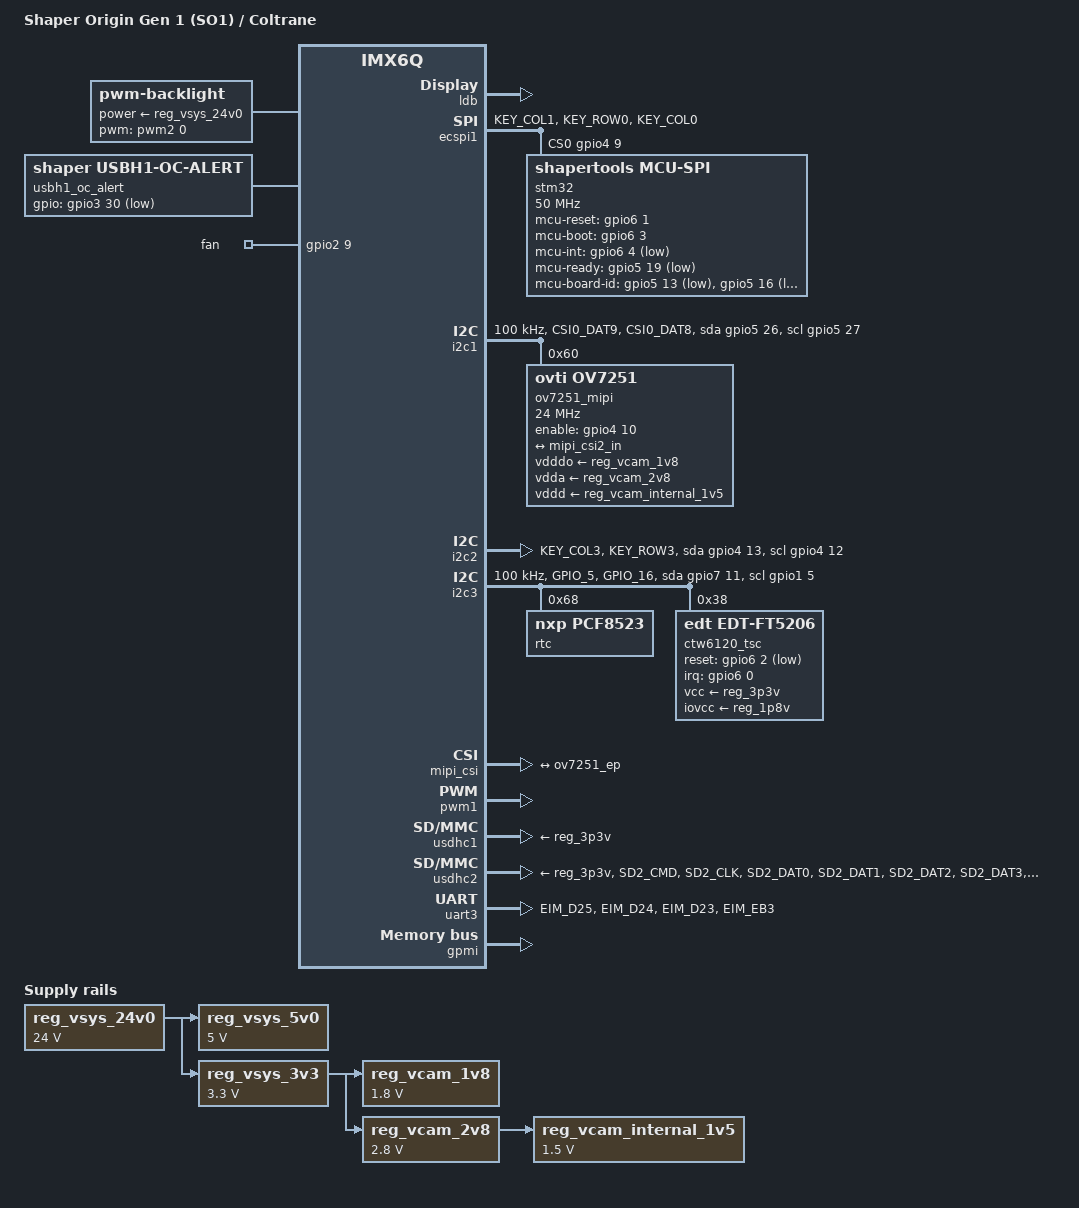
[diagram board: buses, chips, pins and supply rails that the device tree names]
// SPDX-License-Identifier: GPL-2.0+

/*
 * Copyright 2024 Shaper Tools, Inc.
 * - Jeremy Blum <jeremy@shapertools.com>
 * - Donald Carr <donald@shapertools.com>
 * Copyright 2022 Bootlin
 * Copyright 2016 Variscite, Ltd. All Rights Reserved
 */

#include "imx6qdl-var-som.dtsi"

/ {
	model = "Shaper Origin Gen 1 (SO1) / Coltrane";
	compatible = "variscite,var-som-imx6q", "fsl,imx6q";

	/* 24V Power from AC/DC on Coltrane Power Board */
	reg_vsys_24v0: regulator-vsys-24v0 {
		regulator-name = "VSYS_24V0";
		compatible = "regulator-fixed";
		regulator-max-microvolt = <24000000>;
		regulator-min-microvolt = <24000000>;
		regulator-boot-on;
		regulator-always-on;
	};

	/* 5V Power from SMPS on Coltrane Power Board */
	reg_vsys_5v0: regulator-vsys-5v0 {
		regulator-name = "VSYS_5V0";
		compatible = "regulator-fixed";
		regulator-max-microvolt = <5000000>;
		regulator-min-microvolt = <5000000>;
		regulator-boot-on;
		regulator-always-on;
        	vin-supply = <&reg_vsys_24v0>;
	};

	/* 3.3V Power from SMPS on Coltrane Power Board */
	reg_vsys_3v3: regulator-vsys-3v3 {
		regulator-name = "VSYS_3V3";
		compatible = "regulator-fixed";
		regulator-max-microvolt = <3300000>;
		regulator-min-microvolt = <3300000>;
		regulator-boot-on;
		regulator-always-on;
        	vin-supply = <&reg_vsys_24v0>;
	};

	/* 1.8V Camera DOVDD Power Supply generated by dedicated LDO from 3.3V VSYS on Vision Board */
	reg_vcam_1v8: regulator-vcam-1v8 {
		regulator-name = "VCAM_1V8";
		compatible = "regulator-fixed";
		regulator-max-microvolt = <1800000>;
		regulator-min-microvolt = <1800000>;
		regulator-boot-on;
		regulator-always-on;
        	vin-supply = <&reg_vsys_3v3>;
	};

	/* 2.8V Camera AVDD Power Supply generated by dedicated LDO from 3.3V VSYS on Vision Board */
	reg_vcam_2v8: regulator-vcam-2v8 {
		regulator-name = "VCAM_2V8";
		compatible = "regulator-fixed";
		regulator-max-microvolt = <2800000>;
		regulator-min-microvolt = <2800000>;
		regulator-boot-on;
		regulator-always-on;
        	vin-supply = <&reg_vsys_3v3>;
	};

    	/* 1.5V Camera DVDD Internally Generated Core Power */
	reg_vcam_internal_1v5: regulator-vcam-internal-1v5 {
		regulator-name = "VCAM_INTERNAL_1V5";
		compatible = "regulator-fixed";
		regulator-max-microvolt = <1500000>;
		regulator-min-microvolt = <1500000>;
		regulator-boot-on;
		regulator-always-on;
        	vin-supply = <&reg_vcam_2v8>;
	};

	/* The Backlight supply is sourced from the System 24V rail from power board */
	backlight {
		compatible = "pwm-backlight";
		pwms = <&pwm2 0 50000 0>;
		brightness-levels = <0 4 8 16 32 64 128 248>;
		default-brightness-level = <0>;
		status = "okay";
		power-supply = <&reg_vsys_24v0>;
	};

        reserved-memory {
                #address-cells = <1>;
                #size-cells = <1>;
                ranges;

                ramoops@7fff0000 {
                    compatible = "ramoops";
                    no-map;
                    console-size = <0x8000>;    /* 32kB */
                    record-size = <0x400>;      /*  1kB */
                    reg = <0x7fff0000 0x10000>; /* 64kB */
                };

                /* global autoconfigured region for contiguous allocations */
                linux,cma {
                        compatible = "shared-dma-pool";
                        reusable;
                        size = <0x10000000>;
                        //size = <0x14000000>;
                        linux,cma-default;
                };
        };

	/* This is the seperate Kernel interrupt that we use to log overcurrent events on USB Host */
	/* See Comments below */
	usbh1_oc_alert {
		compatible = "shaper,usbh1-oc-alert";
		pinctrl-names = "default";
		pinctrl-0 = <&pinctrl_usbh1_oc_alert_var>;
		gpios = <&gpio3 30 GPIO_ACTIVE_LOW>;
		status = "okay";
	};
};

/* Overrides to i.MX6Q Operating Points, as utilized by Variscite */
&cpu0 {
	operating-points = <
		/* kHz    uV */
		1200000	1350000
		996000	1250000
		852000	1250000
		792000	1175000
		396000	1175000
	>;

	fsl,soc-operating-points = <
		/* ARM kHz  SOC-PU uV */
		1200000	1275000
		996000	1250000
		852000	1250000
		792000	1250000
		396000	1250000
	>;
};
&cpu1 {
	operating-points = <
		/* kHz    uV */
		1200000	1350000
		996000	1250000
		852000	1250000
		792000	1175000
		396000	1175000
	>;

	fsl,soc-operating-points = <
		/* ARM kHz  SOC-PU uV */
		1200000	1275000
		996000	1250000
		852000	1250000
		792000	1250000
		396000	1250000
	>;
};
&cpu2 {
	operating-points = <
		/* kHz    uV */
		1200000	1350000
		996000	1250000
		852000	1250000
		792000	1175000
		396000	1175000
	>;

	fsl,soc-operating-points = <
		/* ARM kHz  SOC-PU uV */
		1200000	1275000
		996000	1250000
		852000	1250000
		792000	1250000
		396000	1250000
	>;
};
&cpu3 {
	operating-points = <
		/* kHz    uV */
		1200000	1350000
		996000	1250000
		852000	1250000
		792000	1175000
		396000	1175000
	>;

	fsl,soc-operating-points = <
		/* ARM kHz  SOC-PU uV */
		1200000	1275000
		996000	1250000
		852000	1250000
		792000	1250000
		396000	1250000
	>;
};

/*
 * We disable native USB driver overcurrent detection via OC mode or GPIO mode.
 * We instead monitor the relevant OC pin as a normal interrupt because we want the
 * USB power chip to handle it directly without interference from the SoC.
 * If we don't disable it, then the boot logs complain about the polarity being unset
 * If we DO enable it, then an OC event causes the SoC to disable the USB PHY without ever re-enabling it.
 * See Comment on pinctrl_usbh1_var.
*/
&usbh1 {
	disable-over-current;
	/* pinctrl-names = "default"; */
	/* pinctrl-0 = <&pinctrl_usbh1_var>; */
	/* over-current-active-low; */

	/* Only if we configure for GPIO mode in pinctrl_usbh1_var */
	/* over-current-gpios = <&gpio3 30 GPIO_ACTIVE_LOW>; */
};

/* The following regulator sources should really be in the imx6qdl-var-som.dtsi file because they are a function of the PMIC. */
/* But, we want to use the upstream file from Variscite for the SOM DTSI, so we define them here. */
/* See Figure 10-5. i.MX 6Dual/6Quad Power Tree in i.MX6 Reference Manual */
&reg_usb_h1_vbus {
	/* USB Host 1 Supply is provided by 5V VSYS via OC Switch */
	vin-supply = <&reg_vsys_5v0>;
	regulator-boot-on;
};
&reg_3p3v {
	/* The 3.3V supply on the SOM is fed in from the 3.3V VSYS. */
	vin-supply = <&reg_vsys_3v3>;
	regulator-boot-on;
};
&reg_1p8v {
	/* The 1.8V supply on the SOM is derived from the 3.3V VSYS via PMIC */
	/* Per SW-8715 notes we've determined that the system 1.8V rail is PMIC VGEN4. */
	/* To-Do: assign downstream consumers to VGEN4 instead of this dummy. */
	vin-supply = <&reg_3p3v>;
	regulator-boot-on;
};

/* Presume that all PMIC rails are effectively generated from the 3.3V Supply fed to the SOM */
&sw1a_reg {
	vin-supply = <&reg_3p3v>;
};
&sw1c_reg {
	vin-supply = <&reg_3p3v>;
};
&sw2_reg {
	vin-supply = <&reg_3p3v>;
};
&sw3a_reg {
	vin-supply = <&reg_3p3v>;
};
&sw3b_reg {
	vin-supply = <&reg_3p3v>;
};
&sw4_reg {
	vin-supply = <&reg_3p3v>;
};
&snvs_reg {
	vin-supply = <&reg_3p3v>;
};
&vref_reg {
	vin-supply = <&reg_3p3v>;
};
&vgen1_reg {
	vin-supply = <&reg_3p3v>;
};
&vgen2_reg {
	vin-supply = <&reg_3p3v>;
};
&vgen3_reg {
	vin-supply = <&reg_3p3v>;
};
&vgen4_reg {
	/* Confirmed vai probing (SW-8715) that this is the actual 1.8V rail used on the SOM */
	vin-supply = <&reg_3p3v>;
};
&vgen5_reg {
	vin-supply = <&reg_3p3v>;
};
&vgen6_reg {
	vin-supply = <&reg_3p3v>;
};

/* anatop requires the following regulators to exist */
/* These regulators are inside the SoC */
&reg_arm {
	regulator-boot-on;
	regulator-always-on;
	regulator-allow-bypass;
};

&reg_soc {
	regulator-boot-on;
	regulator-always-on;
	regulator-allow-bypass;
};

&reg_pu {
	regulator-boot-on;
	regulator-always-on;
	regulator-allow-bypass;
};

&reg_vdd1p1 {
	regulator-boot-on;
	regulator-always-on;
};

&reg_vdd2p5 {
	regulator-boot-on;
	regulator-always-on;
};

&reg_vdd3p0 {
	/* Actual Supply is not certain - setting to SOM input supply */
	vin-supply = <&reg_3p3v>;
	regulator-boot-on;
	regulator-always-on;
};
/* end anatop regulators */

&ldb {
	status = "okay";

	lvds-channel@0 {
		fsl,data-mapping = "spwg";
		fsl,data-width = <24>;
		status = "okay";
		primary;

		display-timings {
			native-mode = <&timing0c>;
			timing0c: hsd100pxn1 {
				clock-frequency = <31000000>;
				hactive = <800>;
				vactive = <480>;
				hback-porch = <88>;
				hfront-porch = <40>;
				hsync-len = <48>;
				vback-porch = <32>;
				vfront-porch = <13>;
				vsync-len = <3>;
			};
		};
	};
};

&ecspi1 {
    fsl,spi-num-chipselects = <1>;
    pinctrl-names = "default";
    pinctrl-0 = <&pinctrl_ecspi1_2>;
    cs-gpios = <&gpio4 9 GPIO_ACTIVE_HIGH>;
    status = "okay";

    stm32: mcu-spi@0 {
        compatible = "shapertools,mcu-spi";
        spi-max-frequency = <50000000>;
        mcu-reset-gpios = <&gpio6 1 GPIO_OPEN_DRAIN>;
        mcu-boot-gpios = <&gpio6 3 GPIO_OPEN_DRAIN>;
        mcu-int-gpios = <&gpio6 4 GPIO_ACTIVE_LOW>;
        mcu-ready-gpios = <&gpio5 19 GPIO_ACTIVE_LOW>;
        mcu-board-id-gpios = <&gpio5 13 GPIO_ACTIVE_LOW>,<&gpio5 16 GPIO_ACTIVE_LOW>,<&gpio5 15 GPIO_ACTIVE_LOW>;
        reg = <0>;
    };
};

&i2c1 {
    clock-frequency = <100000>;
    status = "okay";

    pinctrl-names = "default", "gpio";
    pinctrl-0 = <&pinctrl_i2c1>;
    pinctrl-1 = <&pinctrl_i2c1_recovery>;
    scl-gpios = <&gpio5 27 (GPIO_ACTIVE_HIGH | GPIO_OPEN_DRAIN)>;
    sda-gpios = <&gpio5 26 (GPIO_ACTIVE_HIGH | GPIO_OPEN_DRAIN)>;

    ov7251_mipi: camera@60 {
		compatible = "ovti,ov7251";
		reg = <0x60>;
		clocks = <&clks IMX6QDL_CLK_CKO2>;
		clock-names = "xclk";
		clock-frequency = <24000000>;
		vdddo-supply = <&reg_vcam_1v8>; /* I/O Voltage Supply (1.8V) */
		vdda-supply = <&reg_vcam_2v8>; /* Analog Voltage Supply (2.8V) */
		vddd-supply = <&reg_vcam_internal_1v5>; /* Core Voltage Supply (Internal 1.5V) */
		enable-gpios = <&gpio4 10 GPIO_ACTIVE_HIGH>;
	
		port {
			ov7251_ep: endpoint {
				remote-endpoint = <&mipi_csi2_in>;
				clock-lanes = <1>;
				data-lanes = <0>;
				link-frequencies = /bits/ 64 <240000000 319200000>;
			};
		};
	};
};

&i2c2 {
    pinctrl-names = "default", "gpio";
    scl-gpios = <&gpio4 12 (GPIO_ACTIVE_HIGH | GPIO_OPEN_DRAIN)>;
    sda-gpios = <&gpio4 13 (GPIO_ACTIVE_HIGH | GPIO_OPEN_DRAIN)>;
    pinctrl-0 = <&pinctrl_i2c2>;
    pinctrl-1 = <&pinctrl_i2c2_recovery>;
};

&i2c3 {
    clock-frequency = <100000>;
    status = "okay";

    pinctrl-names = "default", "gpio";
    pinctrl-0 = <&pinctrl_i2c3>;
    pinctrl-1 = <&pinctrl_i2c3_recovery>;
    scl-gpios = <&gpio1 5 (GPIO_ACTIVE_HIGH | GPIO_OPEN_DRAIN)>;
    sda-gpios = <&gpio7 11 (GPIO_ACTIVE_HIGH | GPIO_OPEN_DRAIN)>;

    /* PCF8523 RTC module */
    rtc@68 {
        compatible = "nxp,pcf8523";
        reg = <0x68>;
    };

    /* Touch */
    ctw6120_tsc@38 {
        compatible = "edt,edt-ft5206";
        reg = <0x38>;
        interrupt-parent = <&gpio6>;
        interrupts = <0 0>;
        reset-gpios = <&gpio6 2 GPIO_ACTIVE_LOW>;
        touchscreen-x-mm = <108>;
        touchscreen-y-mm = <65>;
        touchscreen-size-y = <480>;
        touchscreen-size-x = <800>;
	vcc-supply = <&reg_3p3v>;
	iovcc-supply = <&reg_1p8v>;
    };
};

&mipi_csi {
        status = "okay";

        port@0 {
                reg = <0>;

                mipi_csi2_in: endpoint {
                        remote-endpoint = <&ov7251_ep>;
                        clock-lanes = <1>;
                        data-lanes = <0>;
                };
        };
};

&iomuxc {
	pinctrl-names = "default";
	pinctrl-0 = <&pinctrl_hog>;

	pinctrl_ecspi1_1: ecspi1grp-1 {
		fsl,pins = <
		MX6QDL_PAD_EIM_D17__ECSPI1_MISO 0x100b1
		MX6QDL_PAD_EIM_D18__ECSPI1_MOSI 0x100b1
		MX6QDL_PAD_EIM_D16__ECSPI1_SCLK 0x100b1
		>;
	};

	pinctrl_ecspi1_2: ecspi1grp-2 {
		fsl,pins = <
		MX6QDL_PAD_KEY_COL1__ECSPI1_MISO 0x100b1
		MX6QDL_PAD_KEY_ROW0__ECSPI1_MOSI 0x100b1
		MX6QDL_PAD_KEY_COL0__ECSPI1_SCLK 0x100b1
		>;
	};

	/* Camera Control */
	pinctrl_ov7251: ov7251grp {
		fsl,pins = <
		/* CAMERA.CLK */
		MX6QDL_PAD_GPIO_3__CCM_CLKO2        0x130b0
		/* CAMERA.EN */
		MX6QDL_PAD_KEY_COL2__GPIO4_IO10     0x130b0
		/* CAMERA.LED_PWM */
		MX6QDL_PAD_GPIO_9__PWM1_OUT         0x130b1
		>;
	};

	/* MCU RX on UART3 for Debug Logs*/
	pinctrl_uart3: uart3grp {	/* RX/TX RTS/CTS */
		fsl,pins = <
			MX6QDL_PAD_EIM_D25__UART3_RX_DATA	0x1b0b1
			MX6QDL_PAD_EIM_D24__UART3_TX_DATA	0x1b0b1
			MX6QDL_PAD_EIM_D23__UART3_CTS_B		0x1b0b1
			MX6QDL_PAD_EIM_EB3__UART3_RTS_B		0x1b0b1
		>;
	};

	/* Driver DOES support native USB_H1_OC mode, which raises an observable interrupt in the kernel.
	 * However, when it recevies this interupt, it also disables the USB PHY and doesn't re-enable it.
	 * We don't want that behavior, since the Diodes AP2151D USB Power switch chip is already autonomously
	 * pulling power to the USB port when it detects an overcurrent condition. We want that chip to just automatically
	 * re-assert power when the overcurrent condition is removed. Still, it is useful to KNOW that this happened,
	 * so, we configure the pin in the GPIO Mux mode instead of the native OC mode and raise a flag up to the kernel for our logs.
	 * We don't bother configuring the Power enable line (GPIO2_11), since we don't want the SoC to control it anyways.
	 * MX6QDL_PAD_EIM_D30__USB_H1_OC	0x1b0b1 // Native Mode
	 * MX6QDL_PAD_EIM_D30__GPIO3_IO30 	0x1b0b1 // GPIO Mode
	 * 0x1b0b1 = HYS | 100K_UP | PUE | PKE | SPEED_MED | DSE_40ohm | FAST_SLEW
	 */
	/* pinctrl_usbh1_var: usbh1grp {
	 * 	fsl,pins = <
	 *		MX6QDL_PAD_EIM_D30__USB_H1_OC	0x1b0b1
	 *	>;
	 * };
	 */

	pinctrl_usbh1_oc_alert_var: usbh1ocalertgrp {
		fsl,pins = <
			/* GPIO3_IO30 as input, HYS | PUE | PKE | 100k_UP | MED speed | 40ohm */
			MX6QDL_PAD_EIM_D30__GPIO3_IO30 		0x1b0b0
		>;
	};

	pinctrl_usbotg_var: usbotggrp {
		fsl,pins = <
			MX6QDL_PAD_GPIO_4__GPIO1_IO04		0x17059
		>;
	};

	pinctrl_usdhc1: usdhc1grp {
		fsl,pins = <
			MX6QDL_PAD_SD1_CMD__SD1_CMD		0x17071
			MX6QDL_PAD_SD1_CLK__SD1_CLK		0x10071
			MX6QDL_PAD_SD1_DAT0__SD1_DATA0		0x17071
			MX6QDL_PAD_SD1_DAT1__SD1_DATA1		0x17071
			MX6QDL_PAD_SD1_DAT2__SD1_DATA2		0x17071
			MX6QDL_PAD_SD1_DAT3__SD1_DATA3		0x17071
		>;
	};

	pinctrl_usdhc2: usdhc2grp {
		fsl,pins = <
			MX6QDL_PAD_SD2_CMD__SD2_CMD		0x17059
			MX6QDL_PAD_SD2_CLK__SD2_CLK		0x10059
			MX6QDL_PAD_SD2_DAT0__SD2_DATA0		0x17059
			MX6QDL_PAD_SD2_DAT1__SD2_DATA1		0x17059
			MX6QDL_PAD_SD2_DAT2__SD2_DATA2		0x17059
			MX6QDL_PAD_SD2_DAT3__SD2_DATA3		0x17059
		>;
	};

	/*
	 * pinctrl_i2cx originally configured in ./arch/arm/boot/dts/nxp/imx/imx6qdl-var-som.dtsi
	 * Redefined to clearly show changes to DSE field when operated in GPIO mode for recovery
	 # i2c mode can also operate at lower drive strength, but we did not observe meaningful differences
	 * i2c mode:  DSE 0b110 (40_OHM — 25 Ohm @ 3.3V, 40 Ohm @ 1.8V) 0x4001b8b1
	 * gpio mode: DSE 0b011 (90_OHM — 50 Ohm @ 3.3V, 90 Ohm @ 1.8V) 0x4001b899
	 */

        pinctrl_i2c1: i2c1grp {
                fsl,pins = <
                        MX6QDL_PAD_CSI0_DAT9__I2C1_SCL	0x4001b8b1
                        MX6QDL_PAD_CSI0_DAT8__I2C1_SDA	0x4001b8b1
                >;
        };

        pinctrl_i2c2: i2c2grp {
                fsl,pins = <
                        MX6QDL_PAD_KEY_COL3__I2C2_SCL	0x4001b8b1
                        MX6QDL_PAD_KEY_ROW3__I2C2_SDA	0x4001b8b1
                >;
        };

        pinctrl_i2c3: i2c3grp {
                fsl,pins = <
                        MX6QDL_PAD_GPIO_5__I2C3_SCL	0x4001b8b1
                        MX6QDL_PAD_GPIO_16__I2C3_SDA	0x4001b8b1
                >;
        };

	pinctrl_i2c1_recovery: i2c1recoverygrp {
                fsl,pins = <
			MX6QDL_PAD_CSI0_DAT9__GPIO5_IO27	0x4001b899
			MX6QDL_PAD_CSI0_DAT8__GPIO5_IO26	0x4001b899
                >;
        };

        pinctrl_i2c2_recovery: i2c2recoverygrp {
                fsl,pins = <
                        MX6QDL_PAD_KEY_COL3__GPIO4_IO12		0x4001b899
                        MX6QDL_PAD_KEY_ROW3__GPIO4_IO13		0x4001b899
                >;
        };

        pinctrl_i2c3_recovery: i2c3recoverygrp {
                fsl,pins = <
			MX6QDL_PAD_GPIO_5__GPIO1_IO05		0x4001b899
			MX6QDL_PAD_GPIO_16__GPIO7_IO11		0x4001b899
                >;
        };
};

&pwm1 {
    /* pincttrl set in ov7651 node */
    status = "okay";
};

/* eMMC */
&usdhc1 {
	vmmc-supply = <&reg_3p3v>; /* Supply voltage determined from part number */
	vqmmc-supply = <&reg_1p8v>; /* DDR52 speed support. Really connected to VGEN4 per SW-8715*/
};

/* SD card - only on early dev boards */
&usdhc2 {
	pinctrl-names = "default";
	pinctrl-0 = <&pinctrl_usdhc2>;
	cd-gpios = <&gpio4 14 GPIO_ACTIVE_LOW>;
	wp-gpios = <&gpio4 15 GPIO_ACTIVE_HIGH>;
	no-1-8-v;
	vmmc-supply = <&reg_3p3v>;
	vqmmc-supply = <&reg_3p3v>; /* Assumed per no-1.8V property */
	keep-power-in-suspend;
	status = "okay";
};

/* Wireless Module
 * VIO Assumed based on WL1831 Datasheet
 * Commented out because there is a level shifter between,
 * so we're gonna get complaints from the kernel regardless
 */
/* &usdhc3 {
	vqmmc-supply = <&reg_1p8v>; 
}; */

/ {
    /* Buttons in the motherboard */
    leds {
        compatible = "gpio-leds";
        gp-41 {
            label = "fan";
            gpios = <&gpio2 9 GPIO_ACTIVE_HIGH>;
            default-state = "on";
        };
    };
};

&pinctrl_hog {
            fsl,pins = <
                /* Turn on the fan: gpio41 out high */
		/* ./Documentation/devicetree/bindings/pinctrl/fsl,imx6q-pinctrl.txt */
                MX6QDL_PAD_SD4_DAT1__GPIO2_IO09         0x1b0b1
                
                /* Audio Clock */
                MX6QDL_PAD_GPIO_0__CCM_CLKO1            0x130b0

                /* RTC Pullup - GPIO 146 PAD_CTL_PUS_100K_UP | PAD_CTL_PUE | PAD_CTL_PKE | PAD_CTL_SPEED_MED | PAD_CTL_DSE_40ohm*/
                MX6QDL_PAD_CSI0_PIXCLK__GPIO5_IO18  0x0b0b0

                /* Disabled pins (Output low) - PAD_CTL_DSE_40ohm */
                MX6QDL_PAD_GPIO_1__GPIO1_IO01       0x38
                MX6QDL_PAD_GPIO_2__GPIO1_IO02       0x38
                MX6QDL_PAD_EIM_DA5__GPIO3_IO05      0x38
                MX6QDL_PAD_EIM_DA7__GPIO3_IO07      0x38

                /* MCU BOARD ID */
                MX6QDL_PAD_DISP0_DAT19__GPIO5_IO13 0x0001b8b0
                MX6QDL_PAD_DISP0_DAT22__GPIO5_IO16 0x0001b8b0
                MX6QDL_PAD_DISP0_DAT21__GPIO5_IO15 0x0001b8b0

                /* Audio reset */
                MX6QDL_PAD_GPIO_19__GPIO4_IO05		0x178b0

                /* Camera Clock */
                MX6QDL_PAD_GPIO_3__CCM_CLKO2		0x130b0

                /* Resistive touch irq */
                MX6QDL_PAD_DISP0_DAT4__GPIO4_IO25	0x178b0

                /* MCU Wake now Ready line, Open Drain input pulled high */
                MX6QDL_PAD_CSI0_MCLK__GPIO5_IO19	0x0001b8b0

                /* MCU INT, Open Drain, pulled high */
                MX6QDL_PAD_CSI0_DAT18__GPIO6_IO04	0x0001b8b0
            >;
};

/* Our Audio Codec is depopulated */
&audmux {
	status = "disabled";
};

/* Our Ethernet is depopulated */
&fec {
	status = "disabled";
};

/* Potential TODO: Audio code is setup in dtsi, but we don't have it */

&clks {
	assigned-clocks = <&clks IMX6QDL_CLK_LDB_DI0_SEL>,
			  <&clks IMX6QDL_CLK_LDB_DI1_SEL>;
	assigned-clock-parents = <&clks IMX6QDL_CLK_PLL2_PFD0_352M>,
				 <&clks IMX6QDL_CLK_PLL2_PFD0_352M>;
};

/* ttymxc2 UART */
&uart3 {
	pinctrl-names = "default";
	pinctrl-0 = <&pinctrl_uart3>;
	fsl,uart-has-rtscts;
	status = "okay";
};

/* used for NAND Calibration File Storage and Recovery */
&gpmi {
	#address-cells = <1>;
	#size-cells = <1>;

        pinctrl-names = "default";
        pinctrl-0 = <&pinctrl_gpmi_nand>;
        fsl,legacy-bch-geometry;
        status = "okay";

        /* a 1012 MiB partition */
        partition@0 {
                label = "storage";
                reg = <0x00c00000 0x1f400000>;
        };
};

/* Jeremy thinks he put this in at some point, and probably for good reason. */
&usbotg {
	srp-disable;
	hnp-disable;
	adp-disable;
};

/* Disable the RTC section of the SoC - not used */
&snvs_rtc {
	status = "disabled";
};

/* No-Op Phys used for unused internal USB buses */
&usbphynop1 {
	status = "disabled";
};

&usbphynop2 {
	status = "disabled";
};
